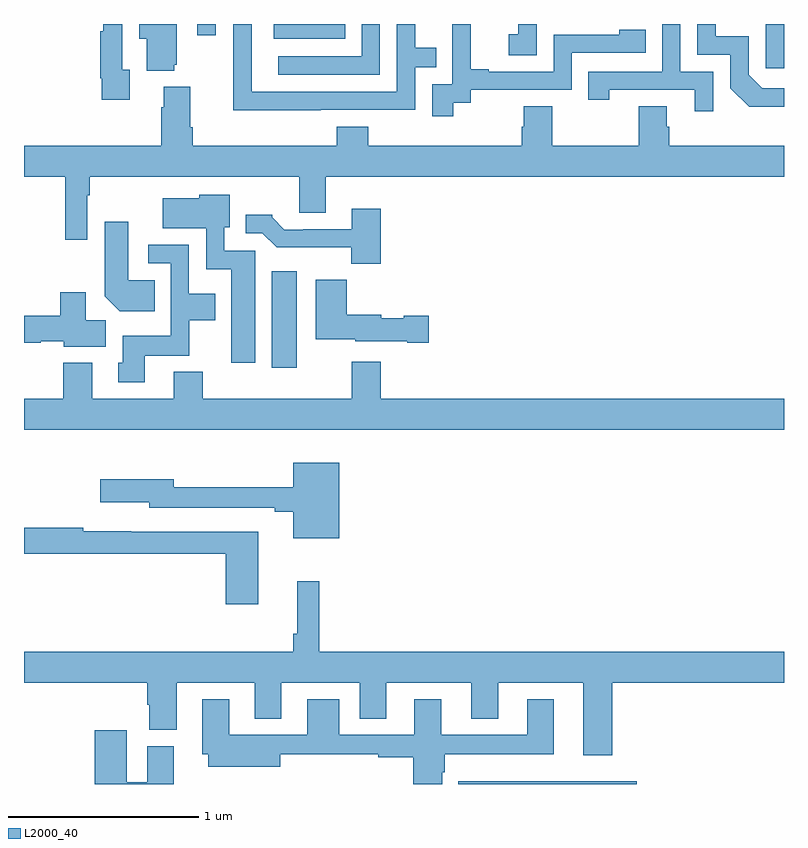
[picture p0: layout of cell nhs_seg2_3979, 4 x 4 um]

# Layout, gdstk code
import gdstk
lib = gdstk.Library(unit=1e-6, precision=1e-09)
def R(c, l, rs):  # rectangles x0, y0, x1, y1
    for r in rs: c.add(gdstk.rectangle(r[:2], r[2:], *l))
def P(c, l, *ps):  # polygons
    for p in ps: c.add(gdstk.Polygon(p, *l))
L2000_40 = (2000, 40)

nhs_seg2_3979 = lib.new_cell('nhs_seg2_3979')
R(nhs_seg2_3979, L2000_40, [(325.286,617.8,326.225,617.815), (324.305,619.992,324.436,620.5), (326.904,621.567,327,621.8), (324.314,621.722,324.692,621.8), (323.913,621.741,324.009,621.8)])
P(nhs_seg2_3979, L2000_40, [(324.563,621.348),(325.059,621.348),(325.059,621.573),(325.169,621.573),(325.169,621.674),(325.059,621.674),(325.059,621.8),(324.963,621.8),(324.963,621.444),(324.198,621.444),(324.198,621.8),(324.102,621.8),(324.102,621.653),(324.1,621.653),(324.1,621.347),(324.563,621.347)],
  [(323.557,621.558),(323.517,621.558),(323.517,621.8),(323.416,621.8),(323.416,621.761),(323.401,621.761),(323.401,621.514),(323.409,621.514),(323.409,621.402),(323.557,621.402)],
  [(323.792,621.585),(323.803,621.585),(323.803,621.8),(323.606,621.8),(323.606,621.722),(323.645,621.722),(323.645,621.554),(323.792,621.554)],
  [(325.258,621.385),(325.35,621.385),(325.35,621.453),(325.884,621.453),(325.884,621.648),(326.273,621.648),(326.273,621.771),(326.133,621.771),(326.133,621.744),(325.788,621.744),(325.788,621.549),(325.447,621.549),(325.447,621.562),(325.352,621.562),(325.352,621.8),(325.253,621.8),(325.253,621.713),(325.254,621.713),(325.254,621.483),(325.149,621.483),(325.149,621.315),(325.258,621.315)],
  [(327,621.462),(326.886,621.462),(326.814,621.534),(326.814,621.735),(326.641,621.735),(326.641,621.8),(326.544,621.8),(326.544,621.639),(326.718,621.639),(326.718,621.462),(326.816,621.365),(327,621.365)],
  [(324.873,621.8),(324.777,621.8),(324.777,621.63),(324.339,621.63),(324.339,621.534),(324.873,621.534)],
  [(326.628,621.549),(326.454,621.549),(326.454,621.8),(326.358,621.8),(326.358,621.549),(325.969,621.549),(325.969,621.402),(326.08,621.402),(326.08,621.453),(326.531,621.453),(326.531,621.342),(326.628,621.342)],
  [(325.698,621.8),(325.6,621.8),(325.6,621.745),(325.551,621.745),(325.551,621.636),(325.698,621.636)],
  [(323.334,620.9),(323.347,620.9),(323.347,620.996),(324.449,620.996),(324.449,620.806),(324.589,620.806),(324.589,620.996),(327,620.996),(327,621.16),(326.396,621.16),(326.396,621.258),(326.383,621.258),(326.383,621.368),(326.236,621.368),(326.236,621.16),(325.779,621.16),(325.779,621.368),(325.631,621.368),(325.631,621.258),(325.619,621.258),(325.619,621.16),(324.812,621.16),(324.812,621.259),(324.647,621.259),(324.647,621.16),(323.888,621.16),(323.888,621.256),(323.875,621.256),(323.875,621.469),(323.735,621.469),(323.735,621.362),(323.723,621.362),(323.723,621.16),(323,621.16),(323,620.996),(323.218,620.996),(323.218,620.664),(323.334,620.664)],
  [(324.217,620.607),(324.054,620.607),(324.054,620.73),(324.082,620.73),(324.082,620.902),(323.922,620.902),(323.922,620.884),(323.73,620.884),(323.73,620.726),(323.958,620.726),(323.958,620.51),(324.092,620.51),(324.092,620.016),(324.217,620.016)],
  [(324.878,620.827),(324.725,620.827),(324.725,620.721),(324.469,620.721),(324.469,620.718),(324.37,620.718),(324.306,620.782),(324.306,620.797),(324.167,620.797),(324.167,620.7),(324.255,620.7),(324.331,620.624),(324.723,620.624),(324.723,620.537),(324.878,620.537)],
  [(323.687,620.452),(323.548,620.452),(323.548,620.758),(323.426,620.758),(323.426,620.366),(323.504,620.288),(323.687,620.288)],
  [(323.635,620.054),(323.871,620.054),(323.871,620.24),(324.007,620.24),(324.007,620.38),(323.868,620.38),(323.868,620.637),(323.655,620.637),(323.655,620.541),(323.772,620.541),(323.772,620.158),(323.519,620.158),(323.519,620.016),(323.495,620.016),(323.495,619.914),(323.635,619.914)],
  [(325.129,620.264),(324.998,620.264),(324.998,620.251),(324.879,620.251),(324.879,620.269),(324.698,620.269),(324.698,620.455),(324.536,620.455),(324.536,620.141),(324.744,620.141),(324.744,620.129),(325.016,620.129),(325.016,620.122),(325.129,620.122)],
  [(323.431,620.24),(323.326,620.24),(323.326,620.389),(323.192,620.389),(323.192,620.264),(323,620.264),(323,620.122),(323.088,620.122),(323.088,620.129),(323.208,620.129),(323.208,620.102),(323.431,620.102)],
  [(327,619.828),(324.878,619.828),(324.878,620.023),(324.725,620.023),(324.725,619.828),(323.942,619.828),(323.942,619.969),(323.789,619.969),(323.789,619.828),(323.359,619.828),(323.359,620.017),(323.207,620.017),(323.207,619.828),(323,619.828),(323,619.664),(327,619.664)],
  [(324.658,619.492),(324.416,619.492),(324.416,619.363),(323.788,619.363),(323.788,619.405),(323.4,619.405),(323.4,619.283),(323.66,619.283),(323.66,619.254),(324.32,619.254),(324.32,619.234),(324.416,619.234),(324.416,619.094),(324.658,619.094)],
  [(324.232,619.128),(323.564,619.128),(323.564,619.129),(323.312,619.129),(323.312,619.148),(323,619.148),(323,619.012),(324.062,619.012),(324.062,618.747),(324.232,618.747)],
  [(326.096,618.332),(327,618.332),(327,618.496),(324.554,618.496),(324.554,618.868),(324.437,618.868),(324.437,618.592),(324.418,618.592),(324.418,618.496),(323,618.496),(323,618.332),(323.648,618.332),(323.648,618.216),(323.66,618.216),(323.66,618.085),(323.803,618.085),(323.803,618.332),(324.215,618.332),(324.215,618.143),(324.355,618.143),(324.355,618.332),(324.767,618.332),(324.767,618.143),(324.907,618.143),(324.907,618.332),(325.355,618.332),(325.355,618.143),(325.495,618.143),(325.495,618.332),(325.943,618.332),(325.943,617.952),(326.096,617.952)],
  [(325.201,617.861),(325.214,617.861),(325.214,617.957),(325.789,617.957),(325.789,618.247),(325.649,618.247),(325.649,618.058),(325.195,618.058),(325.195,618.247),(325.055,618.247),(325.055,618.058),(324.658,618.058),(324.658,618.247),(324.491,618.247),(324.491,618.058),(324.079,618.058),(324.079,618.247),(323.939,618.247),(323.939,617.957),(323.969,617.957),(323.969,617.891),(324.349,617.891),(324.349,617.957),(324.865,617.957),(324.865,617.94),(325.049,617.94),(325.049,617.8),(325.201,617.8)],
  [(323.788,618),(323.648,618),(323.648,617.809),(323.542,617.809),(323.542,618.082),(323.372,618.082),(323.372,617.8),(323.788,617.8)])

lib.write_gds('nhs_seg2_3979.gds')
